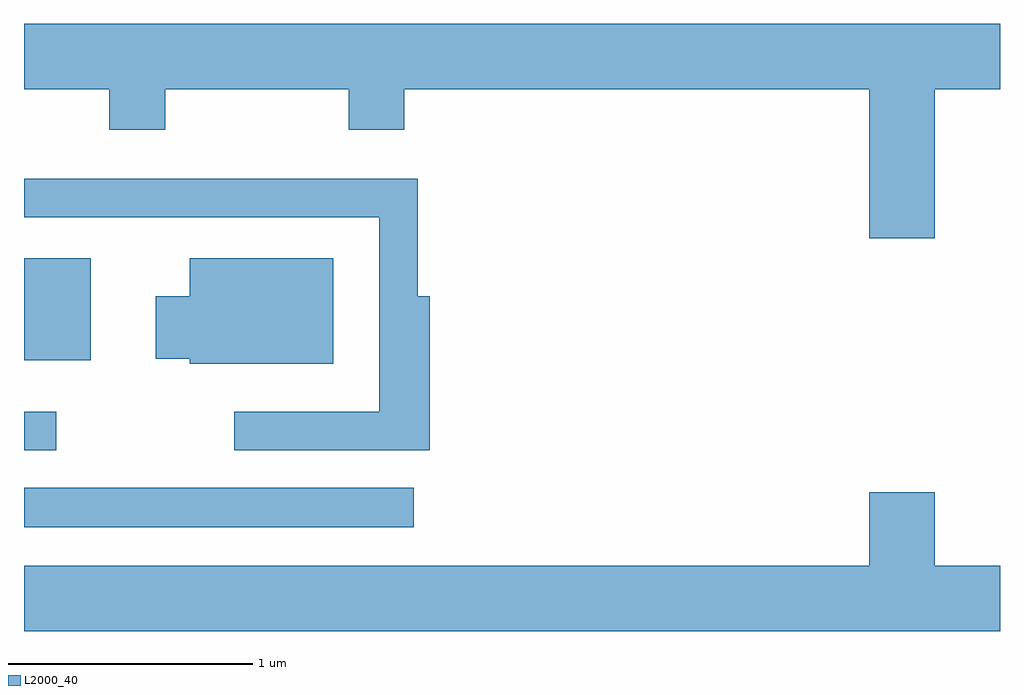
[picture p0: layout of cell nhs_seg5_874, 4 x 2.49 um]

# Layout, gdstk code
import gdstk
lib = gdstk.Library(unit=1e-6, precision=1e-09)
def R(c, l, rs):  # rectangles x0, y0, x1, y1
    for r in rs: c.add(gdstk.rectangle(r[:2], r[2:], *l))
def P(c, l, *ps):  # polygons
    for p in ps: c.add(gdstk.Polygon(p, *l))
L2000_40 = (2000, 40)

nhs_seg5_874 = lib.new_cell('nhs_seg5_874')
R(nhs_seg5_874, L2000_40, [(211.611,1392.841,213.208,1393.004), (211.611,1393.156,211.743,1393.314), (211.611,1393.526,211.884,1393.944)])
P(nhs_seg5_874, L2000_40, [(215.344,1394.636),(215.611,1394.636),(215.611,1394.904),(211.611,1394.904),(211.611,1394.636),(211.961,1394.636),(211.961,1394.471),(212.189,1394.471),(212.189,1394.636),(212.941,1394.636),(212.941,1394.471),(213.169,1394.471),(213.169,1394.636),(215.076,1394.636),(215.076,1394.026),(215.344,1394.026)],
  [(213.274,1393.789),(213.224,1393.789),(213.224,1394.269),(211.611,1394.269),(211.611,1394.111),(213.066,1394.111),(213.066,1393.314),(212.473,1393.314),(212.473,1393.156),(213.274,1393.156)],
  [(212.879,1393.944),(212.291,1393.944),(212.291,1393.789),(212.151,1393.789),(212.151,1393.531),(212.291,1393.531),(212.291,1393.511),(212.879,1393.511)],
  [(215.611,1392.684),(215.344,1392.684),(215.344,1392.984),(215.076,1392.984),(215.076,1392.684),(211.611,1392.684),(211.611,1392.416),(215.611,1392.416)])

lib.write_gds('nhs_seg5_874.gds')
